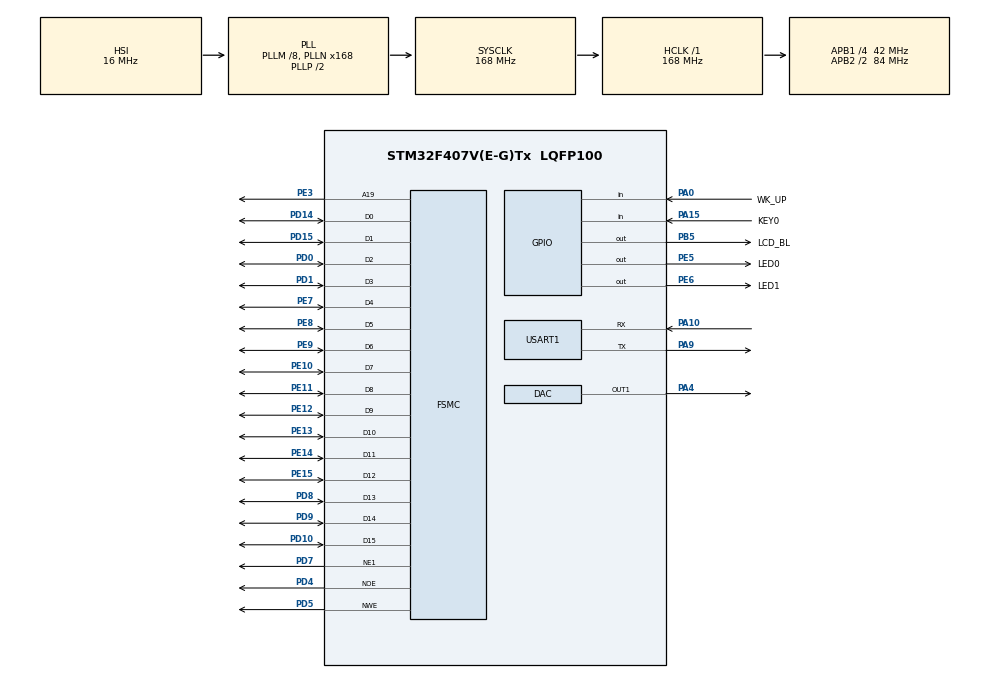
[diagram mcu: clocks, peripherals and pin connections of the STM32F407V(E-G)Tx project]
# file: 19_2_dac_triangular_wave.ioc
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DAC.DAC_OutputBuffer=DAC_OUTPUTBUFFER_DISABLE
FSMC.AddressSetupTime1=15
FSMC.BusTurnAroundDuration1=0
FSMC.DataSetupTime1=60
FSMC.ExtendedAddressSetupTime1=9
FSMC.ExtendedDataSetupTime1=9
FSMC.ExtendedMode1=FSMC_EXTENDED_MODE_ENABLE
Mcu.Family=STM32F4
Mcu.Name=STM32F407V(E-G)Tx
Mcu.Package=LQFP100
NVIC.PriorityGroup=NVIC_PRIORITYGROUP_2
NVIC.USART1_IRQn=true\:2\:2\:true\:false\:true\:true\:true\:true
PA0-WKUP.GPIO_Label=WK_UP
PA0-WKUP.GPIO_PuPd=GPIO_PULLDOWN
PA0-WKUP.Signal=GPIO_Input
PA10.Mode=Asynchronous
PA10.Signal=USART1_RX
PA13.Mode=Serial_Wire
PA13.Signal=SYS_JTMS-SWDIO
PA14.Mode=Serial_Wire
PA14.Signal=SYS_JTCK-SWCLK
PA15.GPIO_Label=KEY0
PA15.GPIO_PuPd=GPIO_PULLDOWN
PA15.Signal=GPIO_Input
PA4.Signal=COMP_DAC1_group
PA9.Mode=Asynchronous
PA9.Signal=USART1_TX
PB5.GPIO_Label=LCD_BL
PB5.GPIO_PuPd=GPIO_PULLUP
PB5.GPIO_Speed=GPIO_SPEED_FREQ_HIGH
PB5.PinState=GPIO_PIN_SET
PB5.Signal=GPIO_Output
PC14-OSC32_IN.Mode=LSE-External-Oscillator
PC14-OSC32_IN.Signal=RCC_OSC32_IN
PC15-OSC32_OUT.Mode=LSE-External-Oscillator
PC15-OSC32_OUT.Signal=RCC_OSC32_OUT
PD0.Mode=16b-d1
PD0.Signal=FSMC_D2
PD1.Mode=16b-d1
PD1.Signal=FSMC_D3
PD10.Mode=16b-d1
PD10.Signal=FSMC_D15
PD14.Mode=16b-d1
PD14.Signal=FSMC_D0
PD15.Mode=16b-d1
PD15.Signal=FSMC_D1
PD4.Mode=Lcd1
PD4.Signal=FSMC_NOE
PD5.Mode=Lcd1
PD5.Signal=FSMC_NWE
PD7.Mode=NorPsramChipSelect1_1
PD7.Signal=FSMC_NE1
PD8.Mode=16b-d1
PD8.Signal=FSMC_D13
PD9.Mode=16b-d1
PD9.Signal=FSMC_D14
PE10.Mode=16b-d1
PE10.Signal=FSMC_D7
PE11.Mode=16b-d1
PE11.Signal=FSMC_D8
PE12.Mode=16b-d1
PE12.Signal=FSMC_D9
PE13.Mode=16b-d1
PE13.Signal=FSMC_D10
PE14.Mode=16b-d1
PE14.Signal=FSMC_D11
PE15.Mode=16b-d1
PE15.Signal=FSMC_D12
PE3.Mode=A19_1
PE3.Signal=FSMC_A19
PE5.GPIO_Label=LED0
PE5.GPIO_PuPd=GPIO_PULLUP
PE5.GPIO_Speed=GPIO_SPEED_FREQ_HIGH
PE5.PinState=GPIO_PIN_SET
PE5.Signal=GPIO_Output
PE6.GPIO_Label=LED1
PE6.GPIO_PuPd=GPIO_PULLUP
PE6.GPIO_Speed=GPIO_SPEED_FREQ_HIGH
PE6.PinState=GPIO_PIN_SET
PE6.Signal=GPIO_Output
PE7.Mode=16b-d1
PE7.Signal=FSMC_D4
PE8.Mode=16b-d1
PE8.Signal=FSMC_D5
PE9.Mode=16b-d1
PE9.Signal=FSMC_D6
PH0-OSC_IN.Mode=HSE-External-Oscillator
PH0-OSC_IN.Signal=RCC_OSC_IN
PH1-OSC_OUT.Mode=HSE-External-Oscillator
PH1-OSC_OUT.Signal=RCC_OSC_OUT
ProjectManager.HeapSize=0x200
ProjectManager.StackSize=0x400
ProjectManager.TargetToolchain=STM32CubeIDE
RCC.48MHZClocksFreq_Value=84000000
RCC.AHBFreq_Value=168000000
RCC.APB1CLKDivider=RCC_HCLK_DIV4
RCC.APB1Freq_Value=42000000
RCC.APB1TimFreq_Value=84000000
RCC.APB2CLKDivider=RCC_HCLK_DIV2
RCC.APB2Freq_Value=84000000
RCC.APB2TimFreq_Value=168000000
RCC.CortexFreq_Value=168000000
RCC.HCLKFreq_Value=168000000
RCC.HSE_VALUE=25000000
RCC.HSI_VALUE=16000000
RCC.PLLM=8
RCC.PLLN=168
RCC.SYSCLKFreq_VALUE=168000000
RCC.SYSCLKSource=RCC_SYSCLKSOURCE_PLLCLK
RCC.VCOOutputFreq_Value=336000000
SH.COMP_DAC1_group.0=DAC_OUT1,DAC_OUT1
USART1.VirtualMode=VM_ASYNC
board=custom

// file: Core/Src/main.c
/**
 ****************************************************************************************************
 * @file        main.c
 * @author      ALIENTEK
 * @brief       dac_triangular_wave code
 * @license     Copyright (C) 2012-2024, ALIENTEK
 ****************************************************************************************************
 * @attention
 *
 * platform     : ALIENTEK M100-STM32F407 board
 * website      : www.alientek.com
 * forum        : www.openedv.com/forum.php
 *
 * change logs  :
 * version      data         notes
 * V1.0         20240409     the first version
 *
 ****************************************************************************************************
 */

 /* USER CODE BEGIN Header */

/* USER CODE END Header */
#include "main.h"
#include "dac.h"
#include "usart.h"
#include "gpio.h"
#include "fsmc.h"

/* USER CODE BEGIN Includes */
#include "../../BSP/LED/led.h"
#include "../../BSP/KEY/key.h"
#include "../../BSP/LCD/lcd.h"
#include "../../BSP/DELAY/delay.h"
/* USER CODE END Includes */

/* USER CODE BEGIN PD */
/**
 * @brief   Displays information about the experiment
 * @param   None
 * @retval  None
 */
void stm32f407vg_show_mesg(void)
{
	/* The serial port outputs the experimental information */
	printf("\n");
	printf("********************************\r\n");
	printf("STM32F407\r\n");
	printf("DAC Triangular WAVE Test\r\n");
	printf("ATOM@ALIENTEK\r\n");
	printf("********************************\r\n");
	printf("\r\n");
}
/* USER CODE END PD */

void SystemClock_Config(void);

int main(void)
{
  /* USER CODE BEGIN 1 */
  uint8_t key;
  uint8_t t = 0;
  /* USER CODE END 1 */

  /* MCU Configuration--------------------------------------------------------*/

  /* Reset of all peripherals, Initializes the Flash interface and the Systick. */
  HAL_Init();

  /* USER CODE BEGIN Init */
  delay_init(84);
  /* USER CODE END Init */

  /* Configure the system clock */
  SystemClock_Config();

  /* Initialize all configured peripherals */
  MX_GPIO_Init();
  MX_USART1_UART_Init();
  MX_FSMC_Init();
  MX_DAC_Init();
  /* USER CODE BEGIN 2 */
  lcd_init();                                         /* Initialize LCD */
  stm32f407vg_show_mesg();
  lcd_show_string(30, 50, 200, 16, 16, "STM32", RED);
  lcd_show_string(30, 70, 200, 16, 16, "DAC Triangular Wave TEST", RED);
  lcd_show_string(30, 90, 200, 16, 16, "ATOM@ALIENTEK", RED);

  lcd_show_string(30, 110, 200, 16, 16, "WK_UP:Wave1 KEY0:Wave2", RED);
  /* USER CODE END 2 */

  /* Infinite loop */
  /* USER CODE BEGIN WHILE */
  while (1)
  {
	  key = key_scan(0);                            /* Scan key */

	  if (key == WKUP_PRES)                         /* High sampling rate */
	  {
	  	  lcd_show_string(30, 130, 200, 16, 16, "DAC Wave1", BLUE);
	  	  dac_triangular_wave(4095, 5, 2000, 100);  /* Amplitude 4095, sampling point interval 5us,2000 sampling points,100 waveforms */
	  	  lcd_show_string(30, 130, 200, 16, 16, "DAC None ", BLUE);
	  }
	  else if (key == KEY0_PRES) /* Low sampling rate */
	  {
	  	  lcd_show_string(30, 130, 200, 16, 16, "DAC Wave2", BLUE);
	  	  dac_triangular_wave(4095, 500, 20, 100);  /* Amplitude 4095, sampling point interval 500us,20 sampling points,100 waveforms */
	  	  lcd_show_string(30, 130, 200, 16, 16, "DAC None ", BLUE);
	  }

	  if (++t == 20)
	  {
	     t = 0;
	     LED0_TOGGLE();  /* flashing LED0 indicates that the system is running */
	  }

	  HAL_Delay(10);     /* delay 10ms */
    /* USER CODE END WHILE */

  }
}

void SystemClock_Config(void)
{
  RCC_OscInitTypeDef RCC_OscInitStruct = {0};
  RCC_ClkInitTypeDef RCC_ClkInitStruct = {0};

  /** Configure the main internal regulator output voltage
  */
  __HAL_RCC_PWR_CLK_ENABLE();
  __HAL_PWR_VOLTAGESCALING_CONFIG(PWR_REGULATOR_VOLTAGE_SCALE1);

  /** Initializes the RCC Oscillators according to the specified parameters
  * in the RCC_OscInitTypeDef structure.
  */
  RCC_OscInitStruct.OscillatorType = RCC_OSCILLATORTYPE_HSI;
  RCC_OscInitStruct.HSIState = RCC_HSI_ON;
  RCC_OscInitStruct.HSICalibrationValue = RCC_HSICALIBRATION_DEFAULT;
  RCC_OscInitStruct.PLL.PLLState = RCC_PLL_ON;
  RCC_OscInitStruct.PLL.PLLSource = RCC_PLLSOURCE_HSI;
  RCC_OscInitStruct.PLL.PLLM = 8;
  RCC_OscInitStruct.PLL.PLLN = 168;
  RCC_OscInitStruct.PLL.PLLP = RCC_PLLP_DIV2;
  RCC_OscInitStruct.PLL.PLLQ = 4;
  if (HAL_RCC_OscConfig(&RCC_OscInitStruct) != HAL_OK)
  {
    Error_Handler();
  }

  /** Initializes the CPU, AHB and APB buses clocks
  */
  RCC_ClkInitStruct.ClockType = RCC_CLOCKTYPE_HCLK|RCC_CLOCKTYPE_SYSCLK
                              |RCC_CLOCKTYPE_PCLK1|RCC_CLOCKTYPE_PCLK2;
  RCC_ClkInitStruct.SYSCLKSource = RCC_SYSCLKSOURCE_PLLCLK;
  RCC_ClkInitStruct.AHBCLKDivider = RCC_SYSCLK_DIV1;
  RCC_ClkInitStruct.APB1CLKDivider = RCC_HCLK_DIV4;
  RCC_ClkInitStruct.APB2CLKDivider = RCC_HCLK_DIV2;

  if (HAL_RCC_ClockConfig(&RCC_ClkInitStruct, FLASH_LATENCY_5) != HAL_OK)
  {
    Error_Handler();
  }
}

void Error_Handler(void)
{
  __disable_irq();
  while (1)
  {
  }
}
